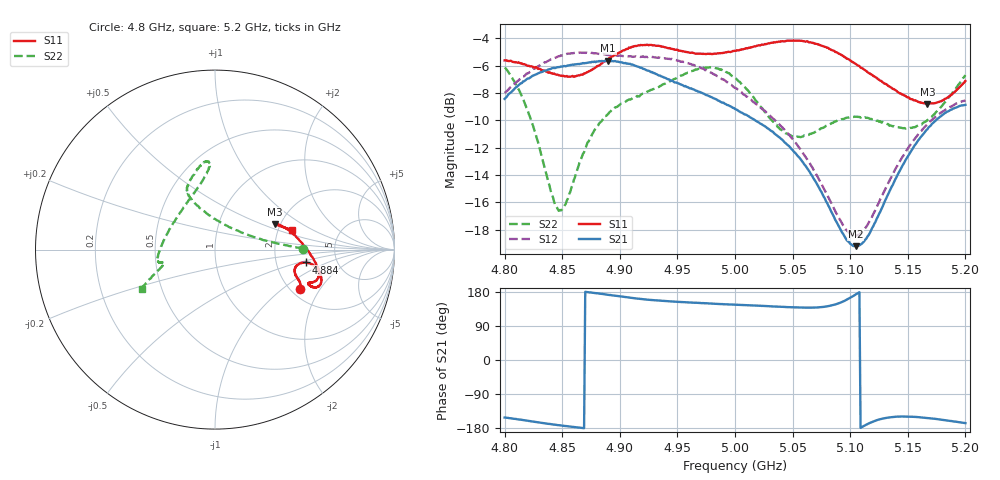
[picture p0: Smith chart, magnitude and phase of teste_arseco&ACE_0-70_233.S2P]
! Network Analyzer HP8722D
! Hewlett-Packard
! Data name: Linha & Wilkinson
! Saver's name: Rodrigo Anjos
! Comments: Teste da utilização de aquisição
! continua pelo VNA HP8722D
! Time and date: 8/5/2025 14:42
!  Frequency  S11  S21  S12  S22
# HZ  S  MA R 50
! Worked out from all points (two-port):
!   401 points, 4.8 GHz to 5.2 GHz, reference 50 ohm
!   highest |S21| = -5.63 dB at 4.89 GHz (marker M1); lowest = -19.2 dB at 5.105 GHz (marker M2)
!   |S21| within 3 dB of the highest: start of sweep to 4.987 GHz
!   lowest |S11| = -8.8 dB at 5.167 GHz (marker M3), VSWR 2.14, Z = 93.7 + j30.7 ohm
!   |S11| at or under -10 dB: nowhere
!   |S22| runs from -16.6 to -6.1 dB; largest |S21 - S12| = 1.1
!   S11 on the Smith chart (normalised r, x): 4.8 GHz: 2.23, -1.36; 4.884 GHz: 2.96, -0.57; 5.2 GHz: 2.36, +0.65
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4.8e9  0.5237 -25.1  0.379 -151.9  0.3988 7.6  0.493 0.6
4.82e9  0.5005 -20.6  0.4496 -160.2  0.4697 4.4  0.3441 5.9
4.846e9  0.4647 -16.4  0.4949 -171.8  0.541 0.4  0.1502 54.2
4.853e9  0.4579 -14.7  0.4987 -174.2  0.5515 -0.8  0.1565 80.1
4.867e9  0.4648 -10.9  0.51 -179.2  0.5586 -2.7  0.2323 107.7
4.884e9  0.5103 -8.1  0.5212 174.5  0.5511 -4.0  0.3132 115.3
4.89e9  0.5286 -8.2  0.5227 171.9  0.5482 -3.8  0.3344 116.2
4.913e9  0.5913 -12.1  0.5015 162.9  0.5409 -3.0  0.3833 113.4
4.934e9  0.5922 -16.6  0.4614 156.7  0.5375 -3.8  0.4192 107.9
4.973e9  0.5536 -19.7  0.3957 149.9  0.487 -7.3  0.4926 96.1
5e9  0.5682 -20.8  0.3481 145.8  0.416 -7.2  0.4538 94.5
5.041e9  0.6161 -19.0  0.2689 140.4  0.2987 0.5  0.2898 128.1
5.052e9  0.6191 -17.4  0.2411 138.7  0.2635 3.1  0.2743 144.7
5.067e9  0.6071 -14.1  0.1983 138.2  0.2134 8.4  0.284 165.2
5.094e9  0.5432 -4.2  0.1214 154.7  0.1305 34.5  0.32 -172.9
5.105e9  0.5078 0.7  0.1097 173.4  0.1198 55.6  0.3259 -169.7
5.116e9  0.4714 6.5  0.1205 -167.8  0.1337 76.4  0.3223 -167.6
5.134e9  0.4206 15.3  0.1735 -151.4  0.19 94.2  0.3024 -166.2
5.152e9  0.3793 21.6  0.2411 -149.4  0.2567 99.1  0.2971 -164.6
5.167e9  0.3634 23.1  0.2934 -153.0  0.3065 99.7  0.317 -161.7
5.183e9  0.3803 20.5  0.3378 -159.2  0.3468 99.6  0.3712 -157.5
5.2e9  0.4408 14.6  0.3604 -166.5  0.3751 100.2  0.4628 -152.0
